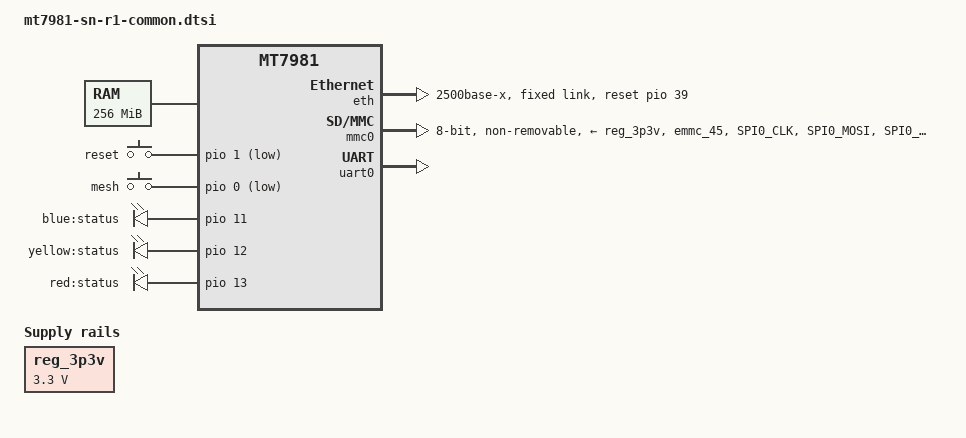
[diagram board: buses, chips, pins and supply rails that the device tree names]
// SPDX-License-Identifier: GPL-2.0

/dts-v1/;
#include "mt7981.dtsi"
#include <dt-bindings/gpio/gpio.h>

/ {
	#address-cells = <1>;
	#size-cells = <1>;

	chosen {
		stdout-path = &uart0;
		tick-timer = &timer0;
	};

	config {
		bootcmd = "mtkboardboot";
		blink_led = "red:status";
		system_led = "blue:status";
	};

	memory@40000000 {
		device_type = "memory";
		reg = <0x40000000 0x10000000>;
	};

	gpio-keys {
		compatible = "gpio-keys";

		reset-button {
			label = "reset";
			linux,code = <KEY_RESTART>;
			gpios = <&pio 1 GPIO_ACTIVE_LOW>;
		};

		mesh-button {
			label = "mesh";
			linux,code = <BTN_9>;
			gpios = <&pio 0 GPIO_ACTIVE_LOW>;
		};
	};

	gpio-leds {
		compatible = "gpio-leds";

		led-0 {
			label = "blue:status";
			gpios = <&pio 11 GPIO_ACTIVE_HIGH>;
		};

		led-1 {
			label = "yellow:status";
			gpios = <&pio 12 GPIO_ACTIVE_HIGH>;
		};

		led-2 {
			label = "red:status";
			gpios = <&pio 13 GPIO_ACTIVE_HIGH>;
		};
	};

	reg_3p3v: regulator-3p3v {
		  compatible = "regulator-fixed";
		  regulator-name = "fixed-3.3V";
		  regulator-min-microvolt = <3300000>;
		  regulator-max-microvolt = <3300000>;
		  regulator-boot-on;
		  regulator-always-on;
	};

	bl2_verify {
		bl2_compatible = "emmc";
	};
};

&eth {
	status = "okay";
	mediatek,gmac-id = <0>;
	phy-mode = "2500base-x";
	mediatek,switch = "auto";
	reset-gpios = <&pio 39 GPIO_ACTIVE_HIGH>;

	fixed-link {
		speed = <2500>;
		full-duplex;
	};
};

&pio {
	spic_pins: spi1-pins-func-1 {
		mux {
			function = "spi";
			groups = "spi1_1";
		};
	};

	mmc0_pins_default: mmc0default {
		mux {
			function = "flash";
			groups =  "emmc_45";
		};
		conf-cmd-dat {
			pins = "SPI0_CLK", "SPI0_MOSI", "SPI0_MISO",
				"SPI0_CS",  "SPI0_HOLD", "SPI0_WP",
				"SPI1_CLK", "SPI1_MOSI", "SPI1_MISO";
			input-enable;
			drive-strength = <MTK_DRIVE_4mA>;
			bias-pull-up = <MTK_PUPD_SET_R1R0_01>;
		};
		conf-clk {
			pins = "SPI1_CS";
			drive-strength = <MTK_DRIVE_6mA>;
			bias-pull-down = <MTK_PUPD_SET_R1R0_10>;
		};
		conf-rst {
			pins = "PWM0";
			drive-strength = <MTK_DRIVE_4mA>;
			bias-pull-up = <MTK_PUPD_SET_R1R0_01>;
		};
	};
};

&mmc0 {
	pinctrl-names = "default";
	pinctrl-0 = <&mmc0_pins_default>;
	bus-width = <8>;
	max-frequency = <52000000>;
	cap-mmc-highspeed;
	cap-mmc-hw-reset;
	vmmc-supply = <&reg_3p3v>;
	non-removable;
	status = "okay";
};

&uart0 {
	status = "okay";
};

&watchdog {
	status = "disabled";
};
